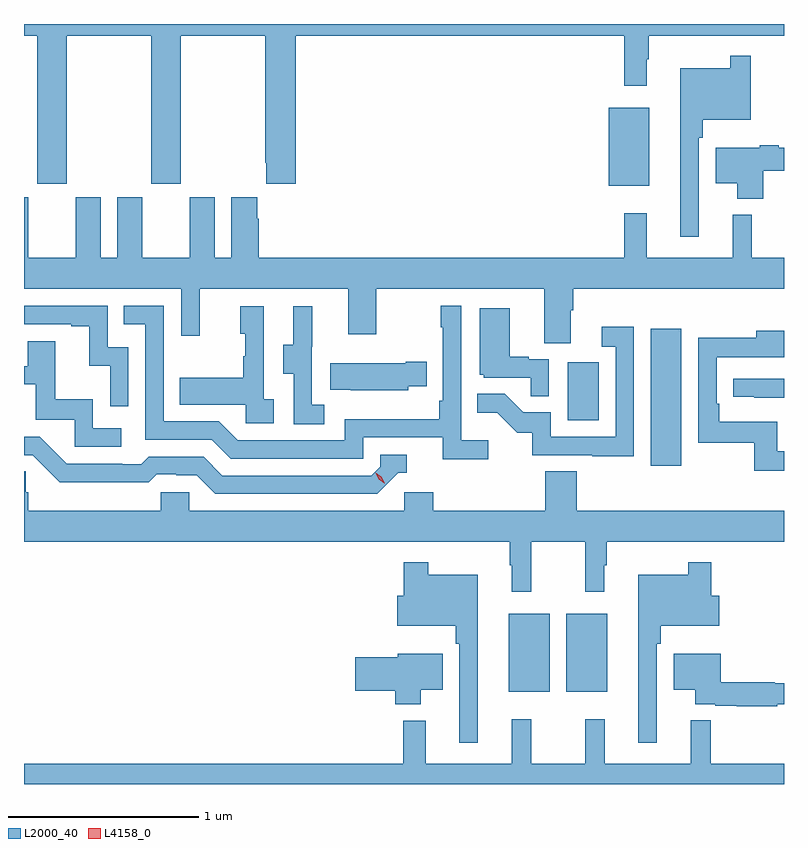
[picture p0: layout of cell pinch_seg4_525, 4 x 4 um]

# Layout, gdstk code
import gdstk
lib = gdstk.Library(unit=1e-6, precision=1e-09)
def R(c, l, rs):  # rectangles x0, y0, x1, y1
    for r in rs: c.add(gdstk.rectangle(r[:2], r[2:], *l))
def P(c, l, *ps):  # polygons
    for p in ps: c.add(gdstk.Polygon(p, *l))
L2000_40 = (2000, 40)
L4158_0 = (4158, 0)

pinch_seg4_525 = lib.new_cell('pinch_seg4_525')
R(pinch_seg4_525, L2000_40, [(1134.527,772.055,1134.742,772.465), (1134.83,772.055,1135.045,772.465), (1135.274,773.244,1135.435,773.965), (1134.836,773.484,1135,773.791), (1135.052,774.719,1135.267,775.129)])
P(pinch_seg4_525, L2000_40, [(1132.2,775.508),(1132.645,775.508),(1132.645,774.729),(1132.8,774.729),(1132.8,775.508),(1133.245,775.508),(1133.245,774.841),(1133.249,774.841),(1133.249,774.729),(1133.405,774.729),(1133.405,775.508),(1135.135,775.508),(1135.135,775.245),(1135.252,775.245),(1135.252,775.385),(1135.264,775.385),(1135.264,775.508),(1135.975,775.508),(1135.975,775.57),(1131.975,775.57),(1131.975,775.508),(1132.045,775.508),(1132.045,774.729),(1132.2,774.729)],
  [(1135.527,774.971),(1135.547,774.971),(1135.547,775.067),(1135.8,775.067),(1135.8,775.402),(1135.692,775.402),(1135.692,775.336),(1135.43,775.336),(1135.43,774.45),(1135.527,774.45)],
  [(1135.865,774.797),(1135.975,774.797),(1135.975,774.919),(1135.948,774.919),(1135.948,774.932),(1135.848,774.932),(1135.848,774.919),(1135.616,774.919),(1135.616,774.731),(1135.73,774.731),(1135.73,774.65),(1135.865,774.65)],
  [(1134.853,774.064),(1134.866,774.064),(1134.866,774.176),(1135.975,774.176),(1135.975,774.34),(1135.806,774.34),(1135.806,774.565),(1135.706,774.565),(1135.706,774.34),(1135.253,774.34),(1135.253,774.574),(1135.135,774.574),(1135.135,774.34),(1133.21,774.34),(1133.21,774.545),(1133.203,774.545),(1133.203,774.658),(1133.066,774.658),(1133.066,774.34),(1132.978,774.34),(1132.978,774.658),(1132.847,774.658),(1132.847,774.34),(1132.597,774.34),(1132.597,774.658),(1132.466,774.658),(1132.466,774.34),(1132.378,774.34),(1132.378,774.658),(1132.247,774.658),(1132.247,774.34),(1131.997,774.34),(1131.997,774.658),(1131.975,774.658),(1131.975,774.176),(1132.803,774.176),(1132.803,773.928),(1132.901,773.928),(1132.901,774.176),(1133.681,774.176),(1133.681,773.937),(1133.829,773.937),(1133.829,774.176),(1134.713,774.176),(1134.713,773.89),(1134.853,773.89)],
  [(1134.418,773.38),(1134.276,773.38),(1134.276,774.088),(1134.168,774.088),(1134.168,773.975),(1134.18,773.975),(1134.18,773.587),(1134.16,773.587),(1134.16,773.491),(1133.664,773.491),(1133.664,773.379),(1133.1,773.379),(1133.001,773.478),(1132.71,773.478),(1132.71,774.087),(1132.501,774.087),(1132.501,773.991),(1132.614,773.991),(1132.614,773.382),(1132.964,773.382),(1133.063,773.283),(1133.76,773.283),(1133.76,773.394),(1134.179,773.394),(1134.179,773.278),(1134.418,773.278)],
  [(1132.524,773.868),(1132.416,773.868),(1132.416,774.087),(1131.975,774.087),(1131.975,773.991),(1132.223,773.991),(1132.223,773.979),(1132.319,773.979),(1132.319,773.771),(1132.428,773.771),(1132.428,773.559),(1132.524,773.559)],
  [(1133.29,773.594),(1133.238,773.594),(1133.238,774.085),(1133.114,774.085),(1133.114,773.94),(1133.14,773.94),(1133.14,773.822),(1133.13,773.822),(1133.13,773.707),(1132.795,773.707),(1132.795,773.567),(1133.142,773.567),(1133.142,773.469),(1133.29,773.469)],
  [(1133.554,773.567),(1133.49,773.567),(1133.49,773.871),(1133.492,773.871),(1133.492,774.085),(1133.393,774.085),(1133.393,773.883),(1133.339,773.883),(1133.339,773.728),(1133.394,773.728),(1133.394,773.464),(1133.554,773.464)],
  [(1134.738,773.805),(1134.632,773.805),(1134.632,773.818),(1134.532,773.818),(1134.532,774.073),(1134.374,774.073),(1134.374,773.724),(1134.396,773.724),(1134.396,773.709),(1134.643,773.709),(1134.643,773.611),(1134.738,773.611)],
  [(1135.185,773.977),(1135.017,773.977),(1135.017,773.871),(1135.089,773.871),(1135.089,773.397),(1134.747,773.397),(1134.747,773.526),(1134.603,773.526),(1134.505,773.624),(1134.361,773.624),(1134.361,773.525),(1134.465,773.525),(1134.572,773.418),(1134.649,773.418),(1134.649,773.301),(1134.967,773.301),(1134.967,773.296),(1135.185,773.296)],
  [(1135.975,773.321),(1135.939,773.321),(1135.939,773.476),(1135.634,773.476),(1135.634,773.572),(1135.62,773.572),(1135.62,773.817),(1135.933,773.817),(1135.933,773.816),(1135.975,773.816),(1135.975,773.956),(1135.829,773.956),(1135.829,773.918),(1135.524,773.918),(1135.524,773.367),(1135.818,773.367),(1135.818,773.22),(1135.975,773.22)],
  [(1132.486,773.442),(1132.338,773.442),(1132.338,773.596),(1132.139,773.596),(1132.139,773.899),(1131.995,773.899),(1131.995,773.769),(1131.975,773.769),(1131.975,773.673),(1132.037,773.673),(1132.037,773.487),(1132.242,773.487),(1132.242,773.346),(1132.486,773.346)],
  [(1133.997,773.663),(1134.095,773.663),(1134.095,773.793),(1133.984,773.793),(1133.984,773.785),(1133.587,773.785),(1133.587,773.645),(1133.695,773.645),(1133.695,773.642),(1133.997,773.642)],
  [(1135.975,773.703),(1135.707,773.703),(1135.707,773.607),(1135.819,773.607),(1135.819,773.602),(1135.975,773.602)],
  [(1133.946,773.208),(1133.989,773.208),(1133.989,773.304),(1133.85,773.304),(1133.85,773.241),(1133.802,773.193),(1133.019,773.193),(1132.92,773.292),(1132.631,773.292),(1132.592,773.253),(1132.493,773.253),(1132.493,773.256),(1132.2,773.256),(1132.059,773.397),(1131.975,773.397),(1131.975,773.301),(1132.02,773.301),(1132.162,773.159),(1132.398,773.159),(1132.398,773.157),(1132.631,773.157),(1132.673,773.199),(1132.776,773.199),(1132.776,773.196),(1132.883,773.196),(1132.982,773.097),(1133.835,773.097)],
  [(1134.644,772.844),(1134.928,772.844),(1134.928,772.581),(1135.03,772.581),(1135.03,772.721),(1135.042,772.721),(1135.042,772.844),(1135.975,772.844),(1135.975,773.008),(1134.884,773.008),(1134.884,773.216),(1134.719,773.216),(1134.719,773.008),(1134.128,773.008),(1134.128,773.106),(1133.976,773.106),(1133.976,773.008),(1132.845,773.008),(1132.845,773.106),(1132.695,773.106),(1132.695,773.008),(1131.998,773.008),(1131.998,773.106),(1131.983,773.106),(1131.983,773.216),(1131.975,773.216),(1131.975,772.844),(1134.531,772.844),(1134.531,772.721),(1134.542,772.721),(1134.542,772.581),(1134.644,772.581)],
  [(1134.364,772.672),(1134.103,772.672),(1134.103,772.738),(1133.974,772.738),(1133.974,772.561),(1133.94,772.561),(1133.94,772.403),(1134.247,772.403),(1134.247,772.307),(1134.267,772.307),(1134.267,771.786),(1134.364,771.786)],
  [(1135.305,772.307),(1135.325,772.307),(1135.325,772.403),(1135.633,772.403),(1135.633,772.561),(1135.591,772.561),(1135.591,772.738),(1135.47,772.738),(1135.47,772.672),(1135.208,772.672),(1135.208,771.786),(1135.305,771.786)],
  [(1135.94,771.99),(1135.975,771.99),(1135.975,772.099),(1135.926,772.099),(1135.926,772.106),(1135.643,772.106),(1135.643,772.255),(1135.394,772.255),(1135.394,772.067),(1135.508,772.067),(1135.508,771.99),(1135.612,771.99),(1135.612,771.983),(1135.726,771.983),(1135.726,771.978),(1135.94,771.978)],
  [(1134.064,772.067),(1134.178,772.067),(1134.178,772.255),(1133.942,772.255),(1133.942,772.238),(1133.718,772.238),(1133.718,772.06),(1133.93,772.06),(1133.93,771.989),(1134.064,771.989)],
  [(1135.975,771.676),(1135.589,771.676),(1135.589,771.905),(1135.484,771.905),(1135.484,771.676),(1135.031,771.676),(1135.031,771.91),(1134.928,771.91),(1134.928,771.676),(1134.644,771.676),(1134.644,771.91),(1134.542,771.91),(1134.542,771.676),(1134.089,771.676),(1134.089,771.904),(1133.971,771.904),(1133.971,771.676),(1131.975,771.676),(1131.975,771.57),(1135.975,771.57)])
P(pinch_seg4_525, L4158_0, [(1133.872,773.154),(1133.841,773.174),(1133.825,773.206),(1133.825,773.207),(1133.826,773.207),(1133.856,773.187),(1133.873,773.154),(1133.873,773.154)])

lib.write_gds('pinch_seg4_525.gds')
